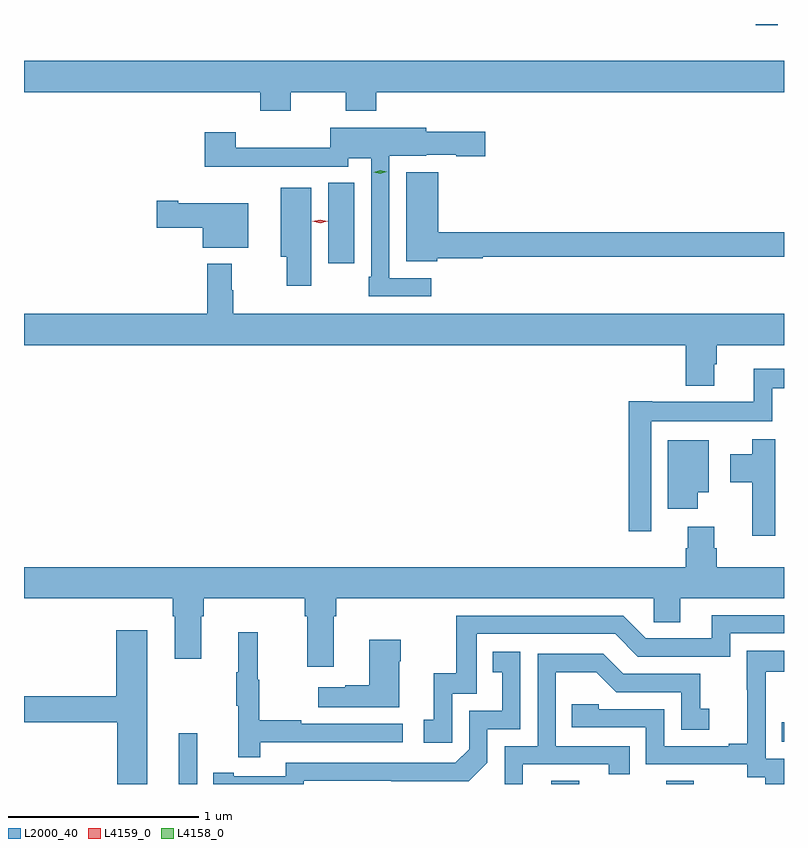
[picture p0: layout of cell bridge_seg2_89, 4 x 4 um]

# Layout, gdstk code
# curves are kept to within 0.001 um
import gdstk
lib = gdstk.Library(unit=1e-6, precision=1e-09)
def R(c, l, rs):  # rectangles x0, y0, x1, y1
    for r in rs: c.add(gdstk.rectangle(r[:2], r[2:], *l))
def P(c, l, *ps):  # polygons
    for p in ps: c.add(gdstk.Polygon(p, *l))
L2000_40 = (2000, 40)
L4158_0 = (4158, 0)
L4159_0 = (4159, 0)

bridge_seg2_89 = lib.new_cell('bridge_seg2_89')
R(bridge_seg2_89, L2000_40, [(243.596,639.998,243.693,640.264), (245.555,639.998,245.703,640.016), (246.16,639.998,246.307,640.016), (246.769,640.221,246.781,640.322), (244.382,642.738,244.519,643.163), (246.631,643.992,246.747,643.998)])
P(bridge_seg2_89, L2000_40, [(244.185,643.64),(244.474,643.64),(244.474,643.541),(244.634,643.541),(244.634,643.64),(246.781,643.64),(246.781,643.804),(242.781,643.804),(242.781,643.64),(244.025,643.64),(244.025,643.541),(244.185,643.541)],
  [(244.924,642.66),(244.704,642.66),(244.704,643.304),(244.899,643.304),(244.899,643.31),(245.056,643.31),(245.056,643.303),(245.209,643.303),(245.209,643.432),(244.899,643.432),(244.899,643.453),(244.392,643.453),(244.392,643.346),(243.896,643.346),(243.896,643.429),(243.731,643.429),(243.731,643.247),(243.979,643.247),(243.979,643.248),(244.488,643.248),(244.488,643.292),(244.608,643.292),(244.608,642.667),(244.596,642.667),(244.596,642.564),(244.924,642.564)],
  [(244.956,642.766),(245.196,642.766),(245.196,642.774),(246.781,642.774),(246.781,642.902),(245.296,642.902),(245.296,642.903),(244.96,642.903),(244.96,643.219),(244.793,643.219),(244.793,642.749),(244.956,642.749)],
  [(244.294,643.135),(244.133,643.135),(244.133,642.773),(244.165,642.773),(244.165,642.621),(244.294,642.621)],
  [(243.961,643.054),(243.592,643.054),(243.592,643.067),(243.48,643.067),(243.48,642.925),(243.722,642.925),(243.722,642.821),(243.961,642.821)],
  [(243.881,642.596),(243.874,642.596),(243.874,642.736),(243.745,642.736),(243.745,642.472),(242.781,642.472),(242.781,642.308),(246.263,642.308),(246.263,642.095),(246.415,642.095),(246.415,642.207),(246.428,642.207),(246.428,642.308),(246.781,642.308),(246.781,642.472),(243.881,642.472)],
  [(246.081,641.906),(246.72,641.906),(246.72,642.08),(246.781,642.08),(246.781,642.184),(246.623,642.184),(246.623,642.01),(246.088,642.01),(246.088,642.013),(245.965,642.013),(245.965,641.328),(246.081,641.328)],
  [(246.736,641.812),(246.614,641.812),(246.614,641.734),(246.497,641.734),(246.497,641.587),(246.614,641.587),(246.614,641.304),(246.736,641.304)],
  [(246.328,641.534),(246.385,641.534),(246.385,641.806),(246.17,641.806),(246.17,641.448),(246.328,641.448)],
  [(244.411,640.88),(244.424,640.88),(244.424,640.976),(246.096,640.976),(246.096,640.849),(246.235,640.849),(246.235,640.976),(246.781,640.976),(246.781,641.14),(246.428,641.14),(246.428,641.238),(246.415,641.238),(246.415,641.353),(246.275,641.353),(246.275,641.238),(246.263,641.238),(246.263,641.14),(242.781,641.14),(242.781,640.976),(243.563,640.976),(243.563,640.88),(243.575,640.88),(243.575,640.656),(243.715,640.656),(243.715,640.88),(243.728,640.88),(243.728,640.976),(244.259,640.976),(244.259,640.88),(244.271,640.88),(244.271,640.614),(244.411,640.614)],
  [(245.034,640.473),(245.163,640.473),(245.163,640.788),(245.892,640.788),(246.012,640.668),(246.498,640.668),(246.498,640.791),(246.781,640.791),(246.781,640.887),(246.401,640.887),(246.401,640.764),(246.054,640.764),(245.934,640.884),(245.055,640.884),(245.055,640.582),(244.937,640.582),(244.937,640.335),(244.884,640.335),(244.884,640.215),(245.034,640.215)],
  [(243.43,640.807),(243.266,640.807),(243.266,640.46),(242.781,640.46),(242.781,640.324),(243.272,640.324),(243.272,639.998),(243.43,639.998)],
  [(244.025,640.218),(244.774,640.218),(244.774,640.314),(244.241,640.314),(244.241,640.334),(244.018,640.334),(244.018,640.548),(244.01,640.548),(244.01,640.798),(243.908,640.798),(243.908,640.585),(243.897,640.585),(243.897,640.411),(243.908,640.411),(243.908,640.14),(244.025,640.14)],
  [(244.756,640.643),(244.764,640.643),(244.764,640.756),(244.598,640.756),(244.598,640.517),(244.472,640.517),(244.472,640.507),(244.329,640.507),(244.329,640.403),(244.756,640.403)],
  [(246.781,640.131),(246.684,640.131),(246.684,640.361),(246.686,640.361),(246.686,640.589),(246.781,640.589),(246.781,640.699),(246.586,640.699),(246.586,640.493),(246.587,640.493),(246.587,640.21),(246.491,640.21),(246.491,640.197),(246.15,640.197),(246.15,640.392),(245.805,640.392),(245.805,640.419),(245.665,640.419),(245.665,640.296),(246.054,640.296),(246.054,640.101),(246.588,640.101),(246.588,640.033),(246.681,640.033),(246.681,639.998),(246.781,639.998)],
  [(244.254,640.014),(245.122,640.013),(245.22,640.11),(245.22,640.287),(245.394,640.287),(245.394,640.693),(245.248,640.693),(245.248,640.587),(245.297,640.587),(245.297,640.383),(245.124,640.383),(245.124,640.182),(245.052,640.11),(244.158,640.11),(244.158,640.038),(243.886,640.038),(243.886,640.058),(243.778,640.058),(243.778,639.998),(244.254,639.998)],
  [(245.407,640.101),(245.858,640.101),(245.858,640.05),(245.969,640.05),(245.969,640.197),(245.58,640.197),(245.58,640.586),(245.794,640.586),(245.898,640.482),(246.24,640.482),(246.24,640.284),(246.388,640.284),(246.388,640.393),(246.339,640.393),(246.339,640.578),(245.935,640.578),(245.83,640.683),(245.484,640.683),(245.484,640.197),(245.31,640.197),(245.31,639.998),(245.407,639.998)])
P(bridge_seg2_89, L4158_0, [(244.656,643.209),(244.621,643.218),(244.62,643.218),(244.621,643.219),(244.655,643.229),(244.69,643.22),(244.69,643.22),(244.69,643.22)])
P(bridge_seg2_89, L4159_0, [(244.339,642.949),(244.298,642.959),(244.298,642.959),(244.298,642.959),(244.339,642.969),(244.379,642.959),(244.38,642.959),(244.379,642.959)])

lib.write_gds('bridge_seg2_89.gds')
